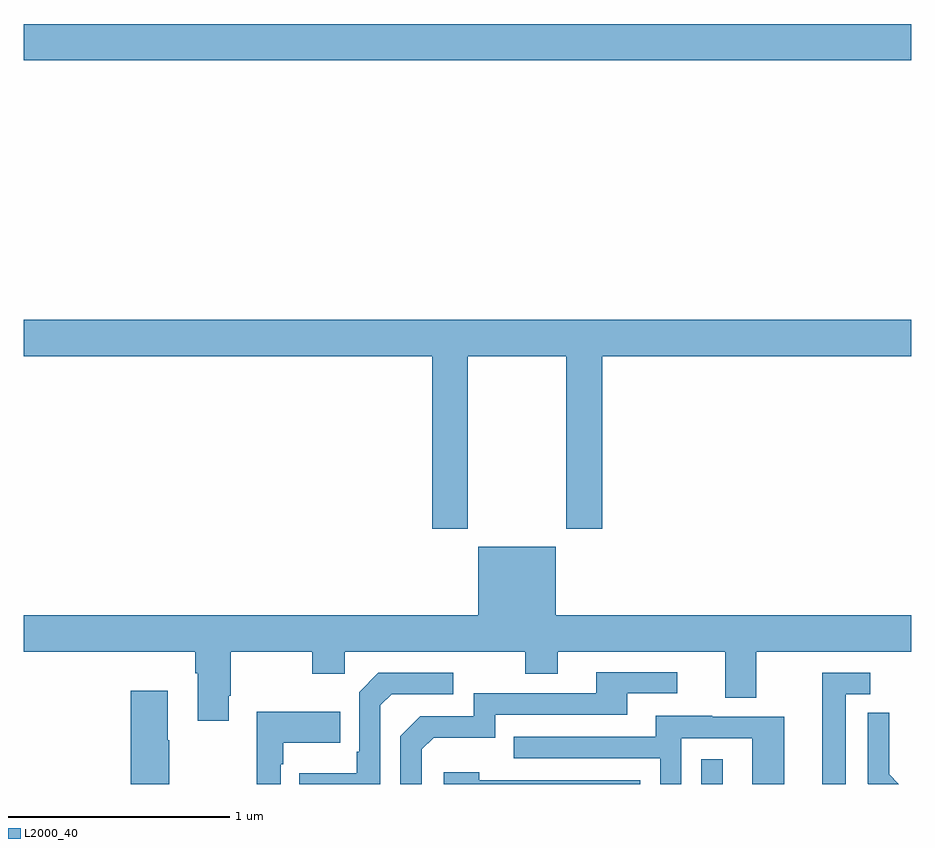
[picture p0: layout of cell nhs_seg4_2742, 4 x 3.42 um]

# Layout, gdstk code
import gdstk
lib = gdstk.Library(unit=1e-6, precision=1e-09)
def R(c, l, rs):  # rectangles x0, y0, x1, y1
    for r in rs: c.add(gdstk.rectangle(r[:2], r[2:], *l))
def P(c, l, *ps):  # polygons
    for p in ps: c.add(gdstk.Polygon(p, *l))
L2000_40 = (2000, 40)

nhs_seg4_2742 = lib.new_cell('nhs_seg4_2742')
R(nhs_seg4_2742, L2000_40, [(258.054,786.9,258.151,787.012), (255,790.16,259,790.324)])
P(nhs_seg4_2742, L2000_40, [(257.001,788.828),(257.446,788.828),(257.446,788.049),(257.606,788.049),(257.606,788.828),(259,788.828),(259,788.992),(255,788.992),(255,788.828),(256.841,788.828),(256.841,788.049),(257.001,788.049)],
  [(255.925,787.297),(255.933,787.297),(255.933,787.496),(256.3,787.496),(256.3,787.397),(256.446,787.397),(256.446,787.496),(257.26,787.496),(257.26,787.397),(257.407,787.397),(257.407,787.496),(258.161,787.496),(258.161,787.288),(258.301,787.288),(258.301,787.496),(259,787.496),(259,787.66),(257.398,787.66),(257.398,787.969),(257.048,787.969),(257.048,787.66),(255,787.66),(255,787.496),(255.773,787.496),(255.773,787.4),(255.785,787.4),(255.785,787.185),(255.925,787.185)],
  [(256.794,787.056),(256.847,787.109),(257.124,787.109),(257.124,787.212),(257.719,787.212),(257.719,787.308),(257.944,787.308),(257.944,787.404),(257.579,787.404),(257.579,787.308),(257.028,787.308),(257.028,787.206),(256.788,787.206),(256.698,787.116),(256.698,786.9),(256.794,786.9)],
  [(256.608,787.254),(256.659,787.305),(256.936,787.305),(256.936,787.401),(256.599,787.401),(256.512,787.314),(256.512,787.045),(256.5,787.045),(256.5,786.949),(256.243,786.949),(256.243,786.9),(256.608,786.9)],
  [(258.703,787.305),(258.814,787.305),(258.814,787.401),(258.599,787.401),(258.599,786.9),(258.703,786.9)],
  [(255.657,787.097),(255.649,787.097),(255.649,787.321),(255.482,787.321),(255.482,786.9),(255.657,786.9)],
  [(256.158,786.989),(256.171,786.989),(256.171,787.085),(256.427,787.085),(256.427,787.225),(256.05,787.225),(256.05,786.9),(256.158,786.9)],
  [(258.899,786.944),(258.899,787.066),(258.9,787.066),(258.9,787.22),(258.804,787.22),(258.804,786.902),(258.806,786.9),(258.942,786.9)],
  [(257.964,787.107),(258.282,787.107),(258.282,786.9),(258.427,786.9),(258.427,787.203),(258.103,787.203),(258.103,787.207),(257.849,787.207),(257.849,787.113),(257.209,787.113),(257.209,787.017),(257.868,787.017),(257.868,786.9),(257.964,786.9)],
  [(257.778,786.918),(257.054,786.918),(257.054,786.952),(256.892,786.952),(256.892,786.9),(257.778,786.9)])

lib.write_gds('nhs_seg4_2742.gds')
